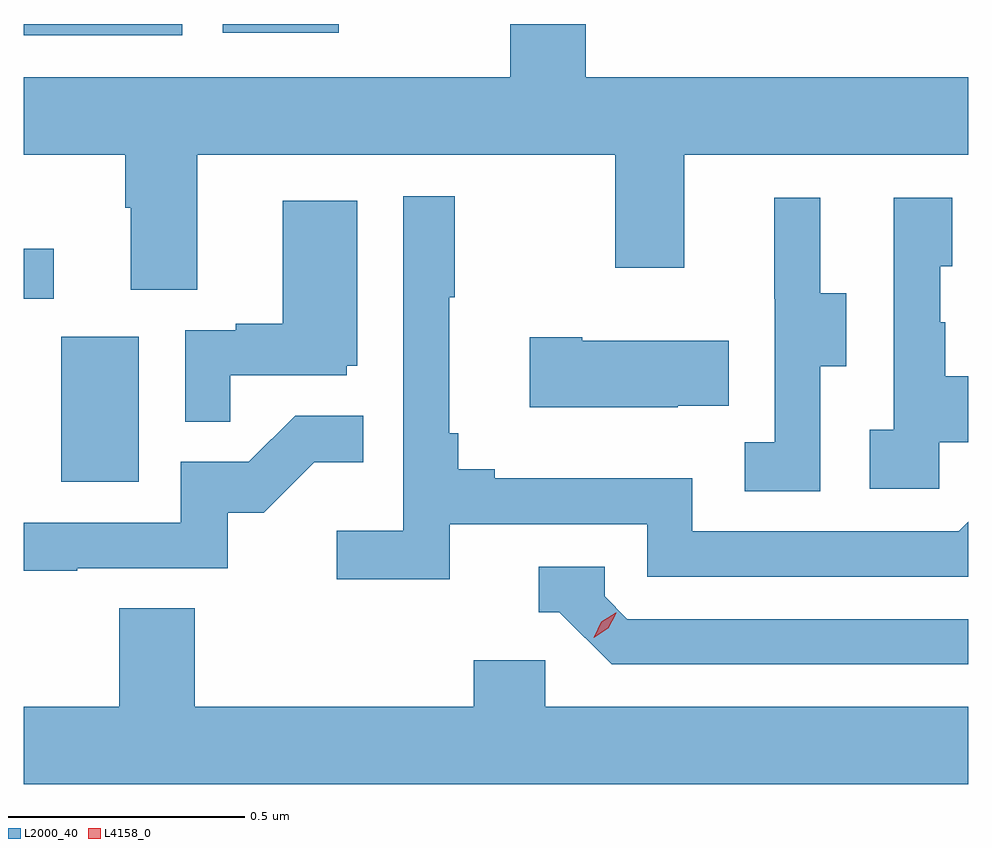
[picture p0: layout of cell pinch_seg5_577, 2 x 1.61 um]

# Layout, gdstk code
import gdstk
lib = gdstk.Library(unit=1e-6, precision=1e-09)
def R(c, l, rs):  # rectangles x0, y0, x1, y1
    for r in rs: c.add(gdstk.rectangle(r[:2], r[2:], *l))
def P(c, l, *ps):  # polygons
    for p in ps: c.add(gdstk.Polygon(p, *l))
L2000_40 = (2000, 40)
L4158_0 = (4158, 0)

pinch_seg5_577 = lib.new_cell('pinch_seg5_577')
R(pinch_seg5_577, L2000_40, [(1101.272,866.724,1101.436,867.031), (1101.192,867.111,1101.256,867.217), (1101.192,867.669,1101.528,867.693), (1101.613,867.675,1101.859,867.693)])
P(pinch_seg5_577, L2000_40, [(1101.559,867.416),(1102.444,867.416),(1102.444,867.177),(1102.591,867.177),(1102.591,867.416),(1103.192,867.416),(1103.192,867.58),(1102.382,867.58),(1102.382,867.693),(1102.222,867.693),(1102.222,867.58),(1101.192,867.58),(1101.192,867.416),(1101.407,867.416),(1101.407,867.304),(1101.419,867.304),(1101.419,867.13),(1101.559,867.13)],
  [(1102.094,866.634),(1102.512,866.634),(1102.512,866.523),(1103.192,866.523),(1103.192,866.639),(1103.172,866.619),(1102.608,866.619),(1102.608,866.731),(1102.189,866.731),(1102.189,866.75),(1102.112,866.75),(1102.112,866.827),(1102.093,866.827),(1102.093,867.115),(1102.105,867.115),(1102.105,867.328),(1101.996,867.328),(1101.996,866.62),(1101.855,866.62),(1101.855,866.518),(1102.094,866.518)],
  [(1102.878,866.968),(1102.933,866.968),(1102.933,867.123),(1102.879,867.123),(1102.879,867.325),(1102.781,867.325),(1102.781,867.111),(1102.782,867.111),(1102.782,866.807),(1102.719,866.807),(1102.719,866.704),(1102.878,866.704)],
  [(1103.13,866.807),(1103.192,866.807),(1103.192,866.947),(1103.143,866.947),(1103.143,867.062),(1103.133,867.062),(1103.133,867.18),(1103.158,867.18),(1103.158,867.325),(1103.034,867.325),(1103.034,866.834),(1102.983,866.834),(1102.983,866.709),(1103.13,866.709)],
  [(1101.629,866.949),(1101.876,866.949),(1101.876,866.97),(1101.898,866.97),(1101.898,867.319),(1101.74,867.319),(1101.74,867.058),(1101.641,867.058),(1101.641,867.045),(1101.534,867.045),(1101.534,866.851),(1101.629,866.851)],
  [(1102.577,866.885),(1102.685,866.885),(1102.685,867.022),(1102.375,867.022),(1102.375,867.03),(1102.263,867.03),(1102.263,866.882),(1102.577,866.882)],
  [(1101.305,866.541),(1101.624,866.541),(1101.624,866.658),(1101.7,866.658),(1101.807,866.765),(1101.911,866.765),(1101.911,866.864),(1101.767,866.864),(1101.669,866.766),(1101.525,866.766),(1101.525,866.637),(1101.192,866.637),(1101.192,866.536),(1101.305,866.536)],
  [(1103.192,866.433),(1102.47,866.433),(1102.422,866.481),(1102.422,866.544),(1102.283,866.544),(1102.283,866.448),(1102.326,866.448),(1102.437,866.337),(1103.192,866.337)],
  [(1103.192,866.248),(1102.296,866.248),(1102.296,866.346),(1102.145,866.346),(1102.145,866.248),(1101.554,866.248),(1101.554,866.456),(1101.394,866.456),(1101.394,866.248),(1101.192,866.248),(1101.192,866.084),(1103.192,866.084)])
P(pinch_seg5_577, L4158_0, [(1102.399,866.394),(1102.399,866.394),(1102.415,866.427),(1102.446,866.447),(1102.447,866.447),(1102.447,866.446),(1102.43,866.414),(1102.399,866.394)])

lib.write_gds('pinch_seg5_577.gds')
